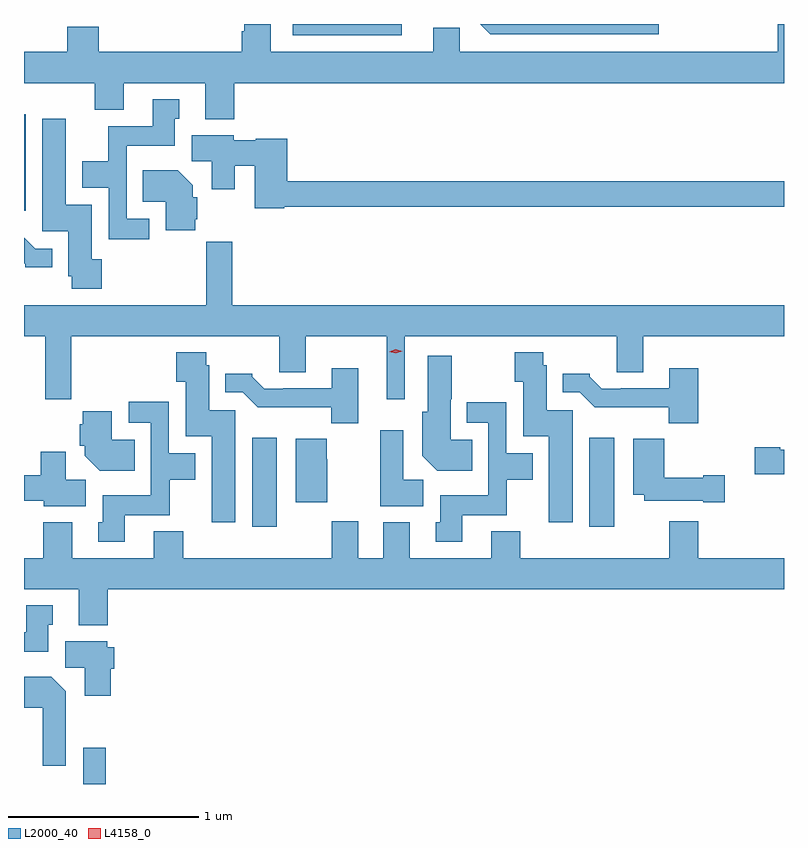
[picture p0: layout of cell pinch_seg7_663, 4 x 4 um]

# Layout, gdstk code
import gdstk
lib = gdstk.Library(unit=1e-6, precision=1e-09)
def R(c, l, rs):  # rectangles x0, y0, x1, y1
    for r in rs: c.add(gdstk.rectangle(r[:2], r[2:], *l))
def P(c, l, *ps):  # polygons
    for p in ps: c.add(gdstk.Polygon(p, *l))
L2000_40 = (2000, 40)
L4158_0 = (4158, 0)

pinch_seg7_663 = lib.new_cell('pinch_seg7_663')
R(pinch_seg7_663, L2000_40, [(266.808,1026.231,266.924,1026.421), (267.695,1027.584,267.826,1028.053), (269.471,1027.584,269.602,1028.053), (266.495,1029.249,266.503,1029.757), (267.909,1030.173,268.483,1030.231)])
P(pinch_seg7_663, L2000_40, [(269.837,1030.231),(268.895,1030.231),(268.95,1030.176),(269.837,1030.176)],
  [(270.495,1030.231),(270.461,1030.231),(270.461,1030.084),(268.788,1030.084),(268.788,1030.211),(268.649,1030.211),(268.649,1030.084),(267.793,1030.084),(267.793,1030.231),(267.654,1030.231),(267.654,1030.193),(267.641,1030.193),(267.641,1030.084),(266.888,1030.084),(266.888,1030.217),(266.723,1030.217),(266.723,1030.084),(266.495,1030.084),(266.495,1029.92),(266.867,1029.92),(266.867,1029.779),(267.019,1029.779),(267.019,1029.92),(267.449,1029.92),(267.449,1029.731),(267.602,1029.731),(267.602,1029.92),(270.495,1029.92)],
  [(267.154,1029.207),(267.036,1029.207),(267.036,1029.59),(267.289,1029.59),(267.289,1029.732),(267.313,1029.732),(267.313,1029.835),(267.173,1029.835),(267.173,1029.694),(266.938,1029.694),(266.938,1029.508),(266.801,1029.508),(266.801,1029.368),(266.94,1029.368),(266.94,1029.099),(267.154,1029.099)],
  [(266.903,1028.994),(266.851,1028.994),(266.851,1029.28),(266.716,1029.28),(266.716,1029.733),(266.591,1029.733),(266.591,1029.141),(266.729,1029.141),(266.729,1028.904),(266.746,1028.904),(266.746,1028.838),(266.903,1028.838)],
  [(267.864,1029.268),(270.495,1029.268),(270.495,1029.404),(267.881,1029.404),(267.881,1029.627),(267.714,1029.627),(267.714,1029.619),(267.6,1029.619),(267.6,1029.646),(267.377,1029.646),(267.377,1029.508),(267.482,1029.508),(267.482,1029.36),(267.604,1029.36),(267.604,1029.485),(267.71,1029.485),(267.71,1029.26),(267.864,1029.26)],
  [(267.395,1029.204),(267.408,1029.204),(267.408,1029.318),(267.382,1029.318),(267.382,1029.382),(267.304,1029.46),(267.121,1029.46),(267.121,1029.296),(267.242,1029.296),(267.242,1029.146),(267.395,1029.146)],
  [(266.644,1029.048),(266.553,1029.048),(266.495,1029.106),(266.495,1028.973),(266.502,1028.966),(266.502,1028.951),(266.644,1028.951)],
  [(266.744,1028.588),(267.839,1028.588),(267.839,1028.398),(267.979,1028.398),(267.979,1028.588),(268.403,1028.588),(268.403,1028.256),(268.5,1028.256),(268.5,1028.588),(269.615,1028.588),(269.615,1028.398),(269.755,1028.398),(269.755,1028.588),(270.495,1028.588),(270.495,1028.752),(267.59,1028.752),(267.59,1029.085),(267.454,1029.085),(267.454,1028.752),(266.495,1028.752),(266.495,1028.588),(266.608,1028.588),(266.608,1028.256),(266.744,1028.256)],
  [(269.383,1028.199),(269.245,1028.199),(269.245,1028.436),(269.229,1028.436),(269.229,1028.503),(269.077,1028.503),(269.077,1028.347),(269.123,1028.347),(269.123,1028.06),(269.258,1028.06),(269.258,1027.608),(269.383,1027.608)],
  [(267.607,1028.199),(267.469,1028.199),(267.469,1028.436),(267.453,1028.436),(267.453,1028.503),(267.296,1028.503),(267.296,1028.347),(267.347,1028.347),(267.347,1028.06),(267.482,1028.06),(267.482,1027.608),(267.607,1027.608)],
  [(268.853,1028.044),(268.741,1028.044),(268.741,1028.256),(268.747,1028.256),(268.747,1028.485),(268.619,1028.485),(268.619,1028.19),(268.592,1028.19),(268.592,1027.958),(268.67,1027.88),(268.853,1027.88)],
  [(268.255,1028.419),(268.115,1028.419),(268.115,1028.313),(267.859,1028.313),(267.859,1028.31),(267.76,1028.31),(267.696,1028.374),(267.696,1028.389),(267.554,1028.389),(267.554,1028.292),(267.645,1028.292),(267.724,1028.214),(268.113,1028.214),(268.113,1028.129),(268.255,1028.129)],
  [(270.044,1028.419),(269.891,1028.419),(269.891,1028.313),(269.635,1028.313),(269.635,1028.31),(269.536,1028.31),(269.472,1028.374),(269.472,1028.389),(269.33,1028.389),(269.33,1028.292),(269.421,1028.292),(269.5,1028.214),(269.889,1028.214),(269.889,1028.129),(270.044,1028.129)],
  [(267.025,1027.646),(267.261,1027.646),(267.261,1027.832),(267.397,1027.832),(267.397,1027.972),(267.258,1027.972),(267.258,1028.242),(267.045,1028.242),(267.045,1028.133),(267.162,1028.133),(267.162,1027.75),(266.909,1027.75),(266.909,1027.608),(266.885,1027.608),(266.885,1027.506),(267.025,1027.506)],
  [(268.801,1027.646),(269.037,1027.646),(269.037,1027.832),(269.173,1027.832),(269.173,1027.972),(269.034,1027.972),(269.034,1028.239),(268.826,1028.239),(268.826,1028.133),(268.938,1028.133),(268.938,1027.75),(268.685,1027.75),(268.685,1027.608),(268.661,1027.608),(268.661,1027.506),(268.801,1027.506)],
  [(267.077,1028.044),(266.956,1028.044),(266.956,1028.194),(266.804,1028.194),(266.804,1028.124),(266.789,1028.124),(266.789,1028.01),(266.816,1028.01),(266.816,1027.958),(266.894,1027.88),(267.077,1027.88)],
  [(268.597,1027.832),(268.492,1027.832),(268.492,1028.092),(268.37,1028.092),(268.37,1027.694),(268.597,1027.694)],
  [(270.184,1027.856),(270.071,1027.856),(270.071,1027.843),(269.864,1027.843),(269.864,1028.047),(269.702,1028.047),(269.702,1027.754),(269.76,1027.754),(269.76,1027.721),(270.071,1027.721),(270.071,1027.714),(270.184,1027.714)],
  [(268.09,1027.94),(268.088,1027.94),(268.088,1028.047),(267.926,1028.047),(267.926,1027.713),(268.09,1027.713)],
  [(270.495,1027.99),(270.474,1027.99),(270.474,1028.003),(270.342,1028.003),(270.342,1027.861),(270.495,1027.861)],
  [(266.821,1027.832),(266.714,1027.832),(266.714,1027.981),(266.582,1027.981),(266.582,1027.856),(266.495,1027.856),(266.495,1027.721),(266.598,1027.721),(266.598,1027.694),(266.821,1027.694)],
  [(266.936,1027.256),(270.495,1027.256),(270.495,1027.42),(270.044,1027.42),(270.044,1027.615),(269.891,1027.615),(269.891,1027.42),(269.108,1027.42),(269.108,1027.561),(268.955,1027.561),(268.955,1027.42),(268.525,1027.42),(268.525,1027.609),(268.385,1027.609),(268.385,1027.42),(268.255,1027.42),(268.255,1027.615),(268.115,1027.615),(268.115,1027.42),(267.332,1027.42),(267.332,1027.561),(267.179,1027.561),(267.179,1027.42),(266.749,1027.42),(266.749,1027.609),(266.597,1027.609),(266.597,1027.42),(266.495,1027.42),(266.495,1027.256),(266.783,1027.256),(266.783,1027.067),(266.936,1027.067)],
  [(266.623,1027.068),(266.647,1027.068),(266.647,1027.171),(266.507,1027.171),(266.507,1027.03),(266.495,1027.03),(266.495,1026.926),(266.623,1026.926)],
  [(266.951,1026.837),(266.969,1026.837),(266.969,1026.951),(266.934,1026.951),(266.934,1026.982),(266.711,1026.982),(266.711,1026.844),(266.816,1026.844),(266.816,1026.696),(266.951,1026.696)],
  [(266.716,1026.718),(266.638,1026.796),(266.495,1026.796),(266.495,1026.632),(266.594,1026.632),(266.594,1026.327),(266.716,1026.327)])
P(pinch_seg7_663, L4158_0, [(268.452,1028.498),(268.417,1028.507),(268.417,1028.507),(268.417,1028.507),(268.452,1028.518),(268.487,1028.509),(268.487,1028.509),(268.487,1028.509)])

lib.write_gds('pinch_seg7_663.gds')
